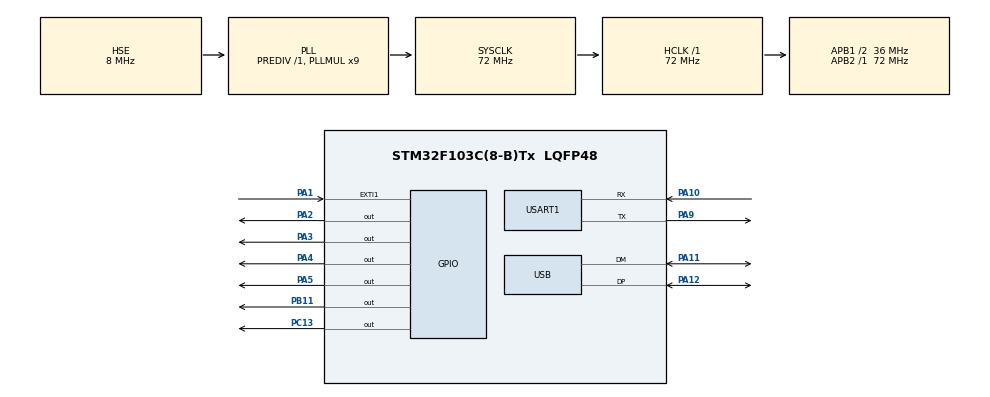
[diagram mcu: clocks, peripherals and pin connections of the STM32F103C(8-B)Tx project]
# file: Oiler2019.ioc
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FREERTOS.Tasks01=defaultTask,0,128,StartDefaultTask,Default,NULL,Dynamic,NULL,NULL;LLCTask,-3,128,StartLLCTask,Default,NULL,Dynamic,NULL,NULL;BLETrTask,-3,128,StartBLETrTask,Default,NULL,Dynamic,NULL,NULL;LBTask,-3,128,StartLBTask,Default,NULL,Dynamic,NULL,NULL
FREERTOS.configTOTAL_HEAP_SIZE=4096
Mcu.Family=STM32F1
Mcu.Name=STM32F103C(8-B)Tx
Mcu.Package=LQFP48
NVIC.EXTI1_IRQn=true\:5\:0\:false\:false\:true\:true\:true\:true
NVIC.PriorityGroup=NVIC_PRIORITYGROUP_4
NVIC.TIM4_IRQn=true\:0\:0\:false\:false\:true\:false\:false\:true
NVIC.TimeBase=TIM4_IRQn
NVIC.TimeBaseIP=TIM4
NVIC.USART1_IRQn=true\:5\:0\:false\:false\:true\:true\:true\:true
NVIC.USB_LP_CAN1_RX0_IRQn=true\:5\:0\:false\:false\:true\:true\:false\:true
PA1.GPIO_PuPd=GPIO_PULLDOWN
PA1.Signal=GPXTI1
PA10.Mode=Asynchronous
PA10.Signal=USART1_RX
PA11.Mode=Device
PA11.Signal=USB_DM
PA12.Mode=Device
PA12.Signal=USB_DP
PA13.Mode=Serial_Wire
PA13.Signal=SYS_JTMS-SWDIO
PA14.Mode=Serial_Wire
PA14.Signal=SYS_JTCK-SWCLK
PA2.Signal=GPIO_Output
PA3.Signal=GPIO_Output
PA4.Signal=GPIO_Output
PA5.Signal=GPIO_Output
PA9.Mode=Asynchronous
PA9.Signal=USART1_TX
PB11.Signal=GPIO_Output
PC13-TAMPER-RTC.Signal=GPIO_Output
PD0-OSC_IN.Mode=HSE-External-Oscillator
PD0-OSC_IN.Signal=RCC_OSC_IN
PD1-OSC_OUT.Mode=HSE-External-Oscillator
PD1-OSC_OUT.Signal=RCC_OSC_OUT
ProjectManager.HeapSize=0x200
ProjectManager.StackSize=0x400
ProjectManager.TargetToolchain=SW4STM32
RCC.AHBFreq_Value=72000000
RCC.APB1CLKDivider=RCC_HCLK_DIV2
RCC.APB1Freq_Value=36000000
RCC.APB1TimFreq_Value=72000000
RCC.APB2Freq_Value=72000000
RCC.APB2TimFreq_Value=72000000
RCC.HCLKFreq_Value=72000000
RCC.PLLMUL=RCC_PLL_MUL9
RCC.SYSCLKFreq_VALUE=72000000
RCC.SYSCLKSource=RCC_SYSCLKSOURCE_PLLCLK
RCC.USBFreq_Value=48000000
RCC.USBPrescaler=RCC_USBCLKSOURCE_PLL_DIV1_5
USART1.VirtualMode=VM_ASYNC
USB_DEVICE.CLASS_NAME_FS=CDC
USB_DEVICE.VirtualMode=Cdc
USB_DEVICE.VirtualModeFS=Cdc_FS
VP_FREERTOS_VS_CMSIS_V1.Mode=CMSIS_V1
VP_SYS_VS_tim4.Mode=TIM4
VP_USB_DEVICE_VS_USB_DEVICE_CDC_FS.Mode=CDC_FS
board=custom

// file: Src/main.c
/* USER CODE BEGIN Header */
/**
  ******************************************************************************
  * @file           : main.c
  * @brief          : Main program body
  ******************************************************************************
  * @attention
  *
  * <h2><center>&copy; Copyright (c) 2019 STMicroelectronics.
  * All rights reserved.</center></h2>
  *
  * This software component is licensed by ST under Ultimate Liberty license
  * SLA0044, the "License"; You may not use this file except in compliance with
  * the License. You may obtain a copy of the License at:
  *                             www.st.com/SLA0044
  *
  ******************************************************************************
  */
/* USER CODE END Header */

#include "main.h"
#include "cmsis_os.h"
#include "usb_device.h"

/* USER CODE BEGIN Includes */

#include "usbd_cdc_if.h"
#include "tiny-json/tiny-json.h"
#include "eeprom/eeprom.h"

/* USER CODE END Includes */

UART_HandleTypeDef huart1;

osThreadId defaultTaskHandle;
osThreadId LLCTaskHandle;
osThreadId BLETrTaskHandle;
osThreadId LBTaskHandle;
/* USER CODE BEGIN PV */

uint16_t VirtAddVarTab[NB_OF_VAR] = {0, 1, 2};

uint8_t rx_data = 0;
uint8_t rx_buffer[32];  // where we build our string from characters coming in
int rx_index = 0;       // index for going though rxString

const float lenghtWheel = 1.96;        //Длинна окружности колеса
const int ble_delay = 50;

uint16_t LubeCount;
uint16_t LubeDelay;
uint16_t WheelRotateCount = 0;
uint16_t WheelRotateCountPrev;
uint16_t WheelRotateLimitBase;
double WheelRotateLimit;
double WheelSpeed;
uint32_t SpeedDelay = 5;

/* USER CODE END PV */

void SystemClock_Config(void);

static void MX_GPIO_Init(void);

static void MX_USART1_UART_Init(void);

void StartDefaultTask(void const *argument);

void StartLLCTask(void const *argument);

void StartBLETrTask(void const *argument);

void StartLBTask(void const *argument);

/* USER CODE BEGIN 0 */

void JSON_Transmit(char *name, uint16_t value) {
    char ble_transmit[20] = {0};
    sprintf(ble_transmit, "%s%s%s%d%s", "{\"", name, "\" : ", value, "}\r\n");
    CDC_Transmit_FS((unsigned char *) ble_transmit, (uint16_t) strlen((char *) ble_transmit));
    HAL_UART_Transmit_IT(&huart1, (unsigned char *) ble_transmit, (uint16_t) strlen((char *) ble_transmit));
    osDelay(ble_delay);
}

void JSON_Receive(char *s_string) {
    json_t pool[2];
    char s_json[20] = {0};
    sprintf(s_json, "%s", s_string);
    json_t const *parent = json_create(s_json, pool, 2);

    json_t const *field = json_getProperty(parent, "LD");
    if (json_getType(field) == JSON_INTEGER) {
        LubeDelay = (uint16_t) json_getInteger(field);
    }

    field = json_getProperty(parent, "WRLB");
    if (json_getType(field) == JSON_INTEGER) {
        WheelRotateLimitBase = (uint16_t) json_getInteger(field);
    }
}

void LubeChain(void) {
    HAL_GPIO_WritePin(GPIOC, GPIO_PIN_11, GPIO_PIN_SET);
    osDelay(LubeDelay);
    HAL_GPIO_WritePin(GPIOB, GPIO_PIN_11, GPIO_PIN_RESET);
    LubeCount++;

    EE_WriteVariable(VirtAddVarTab[0], LubeCount);    //Save lube count
}

void HAL_GPIO_EXTI_Callback(uint16_t GPIO_Pin) {
    WheelRotateCount++;
}

void HAL_UART_RxCpltCallback(UART_HandleTypeDef *huart) {

    if (rx_data != 10) {
        rx_buffer[rx_index++] = rx_data;
    } else {
        JSON_Receive((char *) rx_buffer);
        CDC_Transmit_FS(rx_buffer, (uint16_t) strlen((char *) &rx_buffer));
        rx_index = 0;
        for (int i = 0; i < 32; i++) rx_buffer[i] = 0;
    }

    HAL_UART_Receive_IT(&huart1, &rx_data, 1);     // activate receive

}

/* USER CODE END 0 */

int main(void) {

    /* MCU Configuration--------------------------------------------------------*/

    /* Reset of all peripherals, Initializes the Flash interface and the Systick. */
    HAL_Init();

    /* Configure the system clock */
    SystemClock_Config();

    /* Initialize all configured peripherals */
    MX_GPIO_Init();
    MX_USART1_UART_Init();
    /* USER CODE BEGIN 2 */

    HAL_UART_Receive_IT(&huart1, &rx_data, 1);

    HAL_FLASH_Unlock();
    EE_Init();

    EE_ReadVariable(VirtAddVarTab[0], &LubeCount);
    EE_ReadVariable(VirtAddVarTab[1], &WheelRotateLimitBase);
    EE_ReadVariable(VirtAddVarTab[2], &LubeDelay);

    if (WheelRotateLimitBase == 0) {
        EE_WriteVariable(VirtAddVarTab[0], 0);      //Write LubeCount if device clear
        EE_WriteVariable(VirtAddVarTab[1], 2400);   //Write WheelRotateLimitBase if device clear
        EE_WriteVariable(VirtAddVarTab[2], 1600);   //Write LubeDelay if device clear
    }

    /* USER CODE END 2 */

    /* Create the thread(s) */
    /* definition and creation of defaultTask */
    osThreadDef(defaultTask, StartDefaultTask, osPriorityNormal, 0, 128);
    defaultTaskHandle = osThreadCreate(osThread(defaultTask), NULL);

    /* definition and creation of LLCTask */
    osThreadDef(LLCTask, StartLLCTask, osPriorityIdle, 0, 128);
    LLCTaskHandle = osThreadCreate(osThread(LLCTask), NULL);

    /* definition and creation of BLETrTask */
    osThreadDef(BLETrTask, StartBLETrTask, osPriorityIdle, 0, 128);
    BLETrTaskHandle = osThreadCreate(osThread(BLETrTask), NULL);

    /* definition and creation of LBTask */
    osThreadDef(LBTask, StartLBTask, osPriorityIdle, 0, 128);
    LBTaskHandle = osThreadCreate(osThread(LBTask), NULL);

    /* Start scheduler */
    osKernelStart();

    /* We should never get here as control is now taken by the scheduler */

    /* Infinite loop */
    while (1) {

    }
}

void SystemClock_Config(void) {
    RCC_OscInitTypeDef RCC_OscInitStruct = {0};
    RCC_ClkInitTypeDef RCC_ClkInitStruct = {0};
    RCC_PeriphCLKInitTypeDef PeriphClkInit = {0};

    /** Initializes the CPU, AHB and APB busses clocks
    */
    RCC_OscInitStruct.OscillatorType = RCC_OSCILLATORTYPE_HSE;
    RCC_OscInitStruct.HSEState = RCC_HSE_ON;
    RCC_OscInitStruct.HSEPredivValue = RCC_HSE_PREDIV_DIV1;
    RCC_OscInitStruct.HSIState = RCC_HSI_ON;
    RCC_OscInitStruct.PLL.PLLState = RCC_PLL_ON;
    RCC_OscInitStruct.PLL.PLLSource = RCC_PLLSOURCE_HSE;
    RCC_OscInitStruct.PLL.PLLMUL = RCC_PLL_MUL9;
    if (HAL_RCC_OscConfig(&RCC_OscInitStruct) != HAL_OK) {
        Error_Handler();
    }
    /** Initializes the CPU, AHB and APB busses clocks
    */
    RCC_ClkInitStruct.ClockType = RCC_CLOCKTYPE_HCLK | RCC_CLOCKTYPE_SYSCLK
                                  | RCC_CLOCKTYPE_PCLK1 | RCC_CLOCKTYPE_PCLK2;
    RCC_ClkInitStruct.SYSCLKSource = RCC_SYSCLKSOURCE_PLLCLK;
    RCC_ClkInitStruct.AHBCLKDivider = RCC_SYSCLK_DIV1;
    RCC_ClkInitStruct.APB1CLKDivider = RCC_HCLK_DIV2;
    RCC_ClkInitStruct.APB2CLKDivider = RCC_HCLK_DIV1;

    if (HAL_RCC_ClockConfig(&RCC_ClkInitStruct, FLASH_LATENCY_2) != HAL_OK) {
        Error_Handler();
    }
    PeriphClkInit.PeriphClockSelection = RCC_PERIPHCLK_USB;
    PeriphClkInit.UsbClockSelection = RCC_USBCLKSOURCE_PLL_DIV1_5;
    if (HAL_RCCEx_PeriphCLKConfig(&PeriphClkInit) != HAL_OK) {
        Error_Handler();
    }
}

static void MX_USART1_UART_Init(void) {

    huart1.Instance = USART1;
    huart1.Init.BaudRate = 115200;
    huart1.Init.WordLength = UART_WORDLENGTH_8B;
    huart1.Init.StopBits = UART_STOPBITS_1;
    huart1.Init.Parity = UART_PARITY_NONE;
    huart1.Init.Mode = UART_MODE_TX_RX;
    huart1.Init.HwFlowCtl = UART_HWCONTROL_NONE;
    huart1.Init.OverSampling = UART_OVERSAMPLING_16;
    if (HAL_UART_Init(&huart1) != HAL_OK) {
        Error_Handler();
    }

}

static void MX_GPIO_Init(void) {
    GPIO_InitTypeDef GPIO_InitStruct = {0};

    /* GPIO Ports Clock Enable */
    __HAL_RCC_GPIOC_CLK_ENABLE();
    __HAL_RCC_GPIOD_CLK_ENABLE();
    __HAL_RCC_GPIOA_CLK_ENABLE();
    __HAL_RCC_GPIOB_CLK_ENABLE();

    /*Configure GPIO pin Output Level */
    HAL_GPIO_WritePin(GPIOC, GPIO_PIN_13, GPIO_PIN_RESET);

    /*Configure GPIO pin Output Level */
    HAL_GPIO_WritePin(GPIOA, GPIO_PIN_2 | GPIO_PIN_3 | GPIO_PIN_4 | GPIO_PIN_5, GPIO_PIN_RESET);

    /*Configure GPIO pin Output Level */
    HAL_GPIO_WritePin(GPIOB, GPIO_PIN_11, GPIO_PIN_RESET);

    /*Configure GPIO pin : PC13 */
    GPIO_InitStruct.Pin = GPIO_PIN_13;
    GPIO_InitStruct.Mode = GPIO_MODE_OUTPUT_PP;
    GPIO_InitStruct.Pull = GPIO_NOPULL;
    GPIO_InitStruct.Speed = GPIO_SPEED_FREQ_LOW;
    HAL_GPIO_Init(GPIOC, &GPIO_InitStruct);

    /*Configure GPIO pin : PA1 */
    GPIO_InitStruct.Pin = GPIO_PIN_1;
    GPIO_InitStruct.Mode = GPIO_MODE_IT_RISING;
    GPIO_InitStruct.Pull = GPIO_PULLDOWN;
    HAL_GPIO_Init(GPIOA, &GPIO_InitStruct);

    /*Configure GPIO pins : PA2 PA3 PA4 PA5 */
    GPIO_InitStruct.Pin = GPIO_PIN_2 | GPIO_PIN_3 | GPIO_PIN_4 | GPIO_PIN_5;
    GPIO_InitStruct.Mode = GPIO_MODE_OUTPUT_PP;
    GPIO_InitStruct.Pull = GPIO_NOPULL;
    GPIO_InitStruct.Speed = GPIO_SPEED_FREQ_LOW;
    HAL_GPIO_Init(GPIOA, &GPIO_InitStruct);

    /*Configure GPIO pin : PB11 */
    GPIO_InitStruct.Pin = GPIO_PIN_11;
    GPIO_InitStruct.Mode = GPIO_MODE_OUTPUT_PP;
    GPIO_InitStruct.Pull = GPIO_NOPULL;
    GPIO_InitStruct.Speed = GPIO_SPEED_FREQ_LOW;
    HAL_GPIO_Init(GPIOB, &GPIO_InitStruct);

    /* EXTI interrupt init*/
    HAL_NVIC_SetPriority(EXTI1_IRQn, 5, 0);
    HAL_NVIC_EnableIRQ(EXTI1_IRQn);

}

void StartDefaultTask(void const *argument) {
    /* init code for USB_DEVICE */
    MX_USB_DEVICE_Init();

    /* USER CODE BEGIN 5 */
    /* Infinite loop */
    for (;;) {
        if (WheelRotateCount > WheelRotateLimit) {
            WheelRotateCount = 0;
            WheelRotateCountPrev = 0;
            LubeChain();
        }
        osDelay(1);
    }
    /* USER CODE END 5 */
}

void StartLLCTask(void const *argument) {
    /* USER CODE BEGIN StartLLCTask */
    /* Infinite loop */
    for (;;) {
        WheelSpeed = ((WheelRotateCount - WheelRotateCountPrev) * lenghtWheel / SpeedDelay) * 3600 / 1000;
        WheelRotateLimit = WheelRotateLimitBase;
        if (WheelSpeed > 240) WheelRotateLimit *= 0.75;
        else if (WheelSpeed > 210) WheelRotateLimit *= 0.8;
        else if (WheelSpeed > 180) WheelRotateLimit *= 0.85;
        else if (WheelSpeed > 140) WheelRotateLimit *= 0.9;
        else if (WheelSpeed > 100) WheelRotateLimit *= 0.95;
        WheelRotateCountPrev = WheelRotateCount;

        osDelay(SpeedDelay * 1000);
    }
    /* USER CODE END StartLLCTask */
}

void StartBLETrTask(void const *argument) {
    /* USER CODE BEGIN StartBLETrTask */

    /* Infinite loop */
    for (;;) {
        JSON_Transmit("LD", LubeDelay);
        JSON_Transmit("LC", LubeCount);
        JSON_Transmit("WRC", WheelRotateCount);
        JSON_Transmit("WRL", WheelRotateLimit);
        JSON_Transmit("SP", WheelSpeed);
    }
    /* USER CODE END StartBLETrTask */
}

void StartLBTask(void const *argument) {
    /* USER CODE BEGIN StartLBTask */
    /* Infinite loop */
    for (;;) {
        HAL_GPIO_TogglePin(GPIOC, GPIO_PIN_13);
        osDelay(100);
    }
    /* USER CODE END StartLBTask */
}

void HAL_TIM_PeriodElapsedCallback(TIM_HandleTypeDef *htim) {
    if (htim->Instance == TIM4) {
        HAL_IncTick();
    }
}

void Error_Handler(void) {
}

/************************ (C) COPYRIGHT STMicroelectronics *****END OF FILE****/
